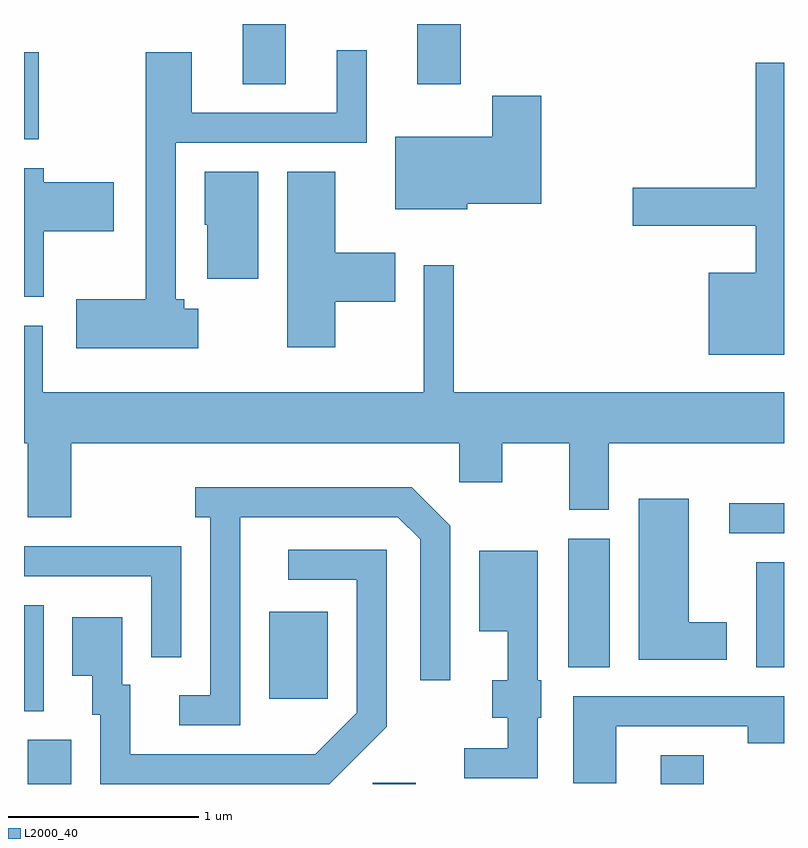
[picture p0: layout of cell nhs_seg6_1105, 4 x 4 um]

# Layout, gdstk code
import gdstk
lib = gdstk.Library(unit=1e-6, precision=1e-09)
def R(c, l, rs):  # rectangles x0, y0, x1, y1
    for r in rs: c.add(gdstk.rectangle(r[:2], r[2:], *l))
def P(c, l, *ps):  # polygons
    for p in ps: c.add(gdstk.Polygon(p, *l))
L2000_40 = (2000, 40)

nhs_seg6_1105 = lib.new_cell('nhs_seg6_1105')
R(nhs_seg6_1105, L2000_40, [(217.631,1628.162,217.859,1628.394), (219.446,1628.162,219.674,1628.169), (220.961,1628.162,221.189,1628.314), (217.611,1628.546,217.714,1629.104), (218.901,1628.611,219.209,1629.069), (220.476,1628.776,220.694,1629.454), (221.466,1628.776,221.611,1629.329), (221.323,1629.481,221.611,1629.639), (217.611,1631.556,217.689,1632.014), (218.761,1631.846,218.989,1632.162), (219.681,1631.846,219.909,1632.162)])
P(nhs_seg6_1105, L2000_40, [(218.529,1630.664),(218.454,1630.664),(218.454,1630.714),(218.409,1630.714),(218.409,1631.536),(219.414,1631.536),(219.414,1632.023),(219.256,1632.023),(219.256,1631.694),(218.494,1631.694),(218.494,1632.014),(218.251,1632.014),(218.251,1630.714),(217.886,1630.714),(217.886,1630.456),(218.529,1630.456)],
  [(221.611,1631.958),(221.461,1631.958),(221.461,1631.299),(220.816,1631.299),(220.816,1631.101),(221.461,1631.101),(221.461,1630.854),(221.216,1630.854),(221.216,1630.421),(221.611,1630.421)],
  [(219.944,1631.216),(220.334,1631.216),(220.334,1631.784),(220.076,1631.784),(220.076,1631.569),(219.566,1631.569),(219.566,1631.186),(219.944,1631.186)],
  [(217.714,1631.071),(218.084,1631.071),(218.084,1631.329),(217.714,1631.329),(217.714,1631.404),(217.611,1631.404),(217.611,1630.726),(217.714,1630.726)],
  [(219.249,1630.701),(219.564,1630.701),(219.564,1630.959),(219.249,1630.959),(219.249,1631.384),(218.996,1631.384),(218.996,1630.461),(219.249,1630.461)],
  [(218.844,1631.384),(218.561,1631.384),(218.561,1631.105),(218.576,1631.105),(218.576,1630.821),(218.844,1630.821)],
  [(217.859,1629.956),(219.901,1629.956),(219.901,1629.751),(220.129,1629.751),(220.129,1629.956),(220.481,1629.956),(220.481,1629.606),(220.689,1629.606),(220.689,1629.956),(221.611,1629.956),(221.611,1630.224),(219.874,1630.224),(219.874,1630.893),(219.716,1630.893),(219.716,1630.224),(217.709,1630.224),(217.709,1630.574),(217.611,1630.574),(217.611,1629.956),(217.631,1629.956),(217.631,1629.566),(217.859,1629.566)],
  [(218.749,1629.566),(219.579,1629.566),(219.696,1629.449),(219.696,1628.708),(219.854,1628.708),(219.854,1629.522),(219.652,1629.724),(218.513,1629.724),(218.513,1629.566),(218.591,1629.566),(218.591,1628.629),(218.428,1628.629),(218.428,1628.471),(218.749,1628.471)],
  [(221.309,1629.014),(221.109,1629.014),(221.109,1629.664),(220.846,1629.664),(220.846,1628.816),(221.309,1628.816)],
  [(218.439,1629.414),(217.611,1629.414),(217.611,1629.256),(218.281,1629.256),(218.281,1628.828),(218.439,1628.828)],
  [(219.519,1628.464),(219.519,1629.394),(219.003,1629.394),(219.003,1629.236),(219.361,1629.236),(219.361,1628.537),(219.144,1628.319),(218.169,1628.319),(218.169,1628.684),(218.129,1628.684),(218.129,1629.039),(217.866,1629.039),(217.866,1628.731),(217.971,1628.731),(217.971,1628.526),(218.011,1628.526),(218.011,1628.162),(219.218,1628.162)],
  [(220.314,1628.511),(220.334,1628.511),(220.334,1628.709),(220.314,1628.709),(220.314,1629.389),(220.006,1629.389),(220.006,1628.966),(220.156,1628.966),(220.156,1628.709),(220.076,1628.709),(220.076,1628.511),(220.156,1628.511),(220.156,1628.349),(219.928,1628.349),(219.928,1628.191),(220.314,1628.191)],
  [(220.729,1628.466),(221.421,1628.466),(221.421,1628.376),(221.611,1628.376),(221.611,1628.624),(220.501,1628.624),(220.501,1628.166),(220.729,1628.166)])

lib.write_gds('nhs_seg6_1105.gds')
